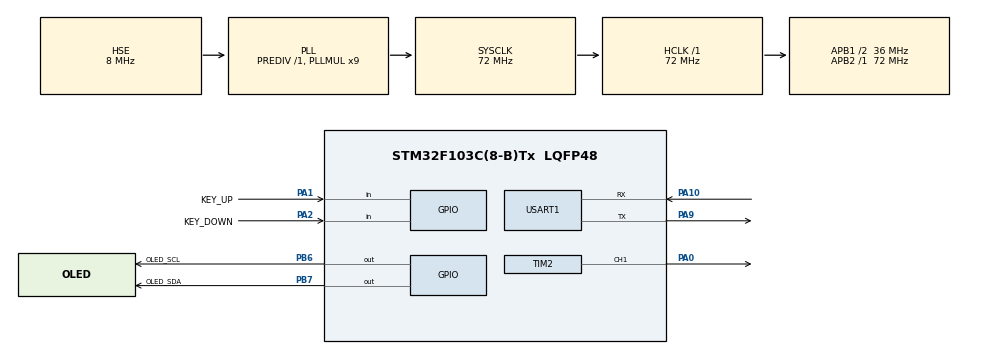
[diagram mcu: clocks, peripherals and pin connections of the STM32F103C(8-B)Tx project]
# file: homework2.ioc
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Mcu.Family=STM32F1
Mcu.Name=STM32F103C(8-B)Tx
Mcu.Package=LQFP48
NVIC.PriorityGroup=NVIC_PRIORITYGROUP_4
NVIC.USART1_IRQn=true\:0\:0\:false\:false\:true\:true\:true\:true
PA0-WKUP.Signal=S_TIM2_CH1_ETR
PA1.GPIO_Label=KEY_UP
PA1.GPIO_PuPd=GPIO_PULLUP
PA1.Signal=GPIO_Input
PA10.Mode=Asynchronous
PA10.Signal=USART1_RX
PA13.Mode=Serial_Wire
PA13.Signal=SYS_JTMS-SWDIO
PA14.Mode=Serial_Wire
PA14.Signal=SYS_JTCK-SWCLK
PA2.GPIO_Label=KEY_DOWN
PA2.GPIO_PuPd=GPIO_PULLUP
PA2.Signal=GPIO_Input
PA9.Mode=Asynchronous
PA9.Signal=USART1_TX
PB6.GPIO_Label=OLED_SCL
PB6.GPIO_ModeDefaultOutputPP=GPIO_MODE_OUTPUT_OD
PB6.GPIO_PuPd=GPIO_NOPULL
PB6.GPIO_Speed=GPIO_SPEED_FREQ_HIGH
PB6.PinState=GPIO_PIN_SET
PB6.Signal=GPIO_Output
PB7.GPIO_Label=OLED_SDA
PB7.GPIO_ModeDefaultOutputPP=GPIO_MODE_OUTPUT_OD
PB7.GPIO_PuPd=GPIO_NOPULL
PB7.Signal=GPIO_Output
PD0-OSC_IN.Mode=HSE-External-Oscillator
PD0-OSC_IN.Signal=RCC_OSC_IN
PD1-OSC_OUT.Mode=HSE-External-Oscillator
PD1-OSC_OUT.Signal=RCC_OSC_OUT
ProjectManager.HeapSize=0x200
ProjectManager.StackSize=0x400
ProjectManager.TargetToolchain=CMake
RCC.AHBFreq_Value=72000000
RCC.APB1CLKDivider=RCC_HCLK_DIV2
RCC.APB1Freq_Value=36000000
RCC.APB1TimFreq_Value=72000000
RCC.APB2Freq_Value=72000000
RCC.APB2TimFreq_Value=72000000
RCC.HCLKFreq_Value=72000000
RCC.PLLMUL=RCC_PLL_MUL9
RCC.PLLSourceVirtual=RCC_PLLSOURCE_HSE
RCC.SYSCLKFreq_VALUE=72000000
RCC.SYSCLKSource=RCC_SYSCLKSOURCE_PLLCLK
RCC.USBFreq_Value=72000000
SH.S_TIM2_CH1_ETR.0=TIM2_CH1,PWM Generation1 CH1
TIM2.Channel-PWM\ Generation1\ CH1=TIM_CHANNEL_1
TIM2.Period=19999
TIM2.Prescaler=71
TIM2.Pulse-PWM\ Generation1\ CH1=1500
USART1.VirtualMode=VM_ASYNC
VP_TIM2_VS_ClockSourceINT.Mode=Internal
board=custom

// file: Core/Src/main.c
/* USER CODE BEGIN Header */
/**
  ******************************************************************************
  * @file           : main.c
  * @brief          : Main program body
  ******************************************************************************
  * @attention
  *
  * Copyright (c) 2026 STMicroelectronics.
  * All rights reserved.
  *
  * This software is licensed under terms that can be found in the LICENSE file
  * in the root directory of this software component.
  * If no LICENSE file comes with this software, it is provided AS-IS.
  *
  ******************************************************************************
  */
/* USER CODE END Header */
#include "main.h"
#include "tim.h"
#include "usart.h"
#include "gpio.h"

/* USER CODE BEGIN Includes */
#include <stdio.h>
#include "Delay.h"
#include "OLED.h"
#include "Servo.h"
#include "Key.h"
/* USER CODE END Includes */

/* USER CODE BEGIN PV */
static const float seq[5] = {0.0f, 45.0f, 90.0f, 135.0f, 180.0f};

static uint8_t  s_seq_step = 1u;
static float    s_target = 0.0f;
static uint32_t s_last_ms = 0u;
static uint16_t s_show_ccr = 0xFFFFu;

static Key_t s_key_up   = {KEY_UP_GPIO_Port, KEY_UP_Pin, 1u, 0u, 0u};
static Key_t s_key_down = {KEY_DOWN_GPIO_Port, KEY_DOWN_Pin, 1u, 0u, 0u};
/* USER CODE END PV */

void SystemClock_Config(void);

int main(void)
{

  /* MCU Configuration--------------------------------------------------------*/

  /* Reset of all peripherals, Initializes the Flash interface and the Systick. */
  HAL_Init();

  /* Configure the system clock */
  SystemClock_Config();

  /* Initialize all configured peripherals */
  MX_GPIO_Init();
  MX_USART1_UART_Init();
  MX_TIM2_Init();
  /* USER CODE BEGIN 2 */
  /* DWT 必须在任何 Delay_us 之前初始化（OLED_Init 内部会用到） */
  Delay_Init();
  OLED_Init();
  OLED_Clear();
  Servo_Init();

  s_last_ms = HAL_GetTick();

  /* USER CODE END 2 */

  /* Infinite loop */
  while (1)
  {

    /* USER CODE BEGIN 3 */

      if (s_seq_step < 5u)
      {
        if ((HAL_GetTick() - s_last_ms) >= 1000u)
        {
          s_last_ms = HAL_GetTick();
          s_target = seq[s_seq_step];
          s_seq_step++;
        }
      }

      else
      {
        if (Key_Scan(&s_key_up))
        {
          s_target += 15.0f;
          if (s_target > 180.0f) s_target = 180.0f;
        }
        if (Key_Scan(&s_key_down))
        {
          s_target -= 15.0f;
          if (s_target < 0.0f) s_target = 0.0f;
        }
      }

      uint16_t ccr = Servo_SetAngle(s_target);
      if (ccr != s_show_ccr)
      {
        s_show_ccr = ccr;

        OLED_ShowString(1, 1, "Target:");
        OLED_ShowNum(1, 9, (uint32_t)s_target, 3);
        OLED_ShowString(1, 12, "deg");

        OLED_ShowString(2, 1, "CCR   :");
        OLED_ShowNum(2, 9, ccr, 4);

        OLED_ShowString(3, 1, "Pulse :");
        OLED_ShowNum(3, 9, ccr / 1000, 1);
        OLED_ShowString(3, 10, ".");
        OLED_ShowNum(3, 11, ccr % 1000, 3);
        OLED_ShowString(3, 14, "ms");

        printf("Target=%3d CCR=%4d Pulse=%d.%03dms\r\n",
               (int)s_target, ccr, ccr / 1000, ccr % 1000);
      }
    }
  }

  /* USER CODE END 3 */

void SystemClock_Config(void)
{
  RCC_OscInitTypeDef RCC_OscInitStruct = {0};
  RCC_ClkInitTypeDef RCC_ClkInitStruct = {0};

  /** Initializes the RCC Oscillators according to the specified parameters
  * in the RCC_OscInitTypeDef structure.
  */
  RCC_OscInitStruct.OscillatorType = RCC_OSCILLATORTYPE_HSE;
  RCC_OscInitStruct.HSEState = RCC_HSE_ON;
  RCC_OscInitStruct.HSEPredivValue = RCC_HSE_PREDIV_DIV1;
  RCC_OscInitStruct.HSIState = RCC_HSI_ON;
  RCC_OscInitStruct.PLL.PLLState = RCC_PLL_ON;
  RCC_OscInitStruct.PLL.PLLSource = RCC_PLLSOURCE_HSE;
  RCC_OscInitStruct.PLL.PLLMUL = RCC_PLL_MUL9;
  if (HAL_RCC_OscConfig(&RCC_OscInitStruct) != HAL_OK)
  {
    Error_Handler();
  }

  /** Initializes the CPU, AHB and APB buses clocks
  */
  RCC_ClkInitStruct.ClockType = RCC_CLOCKTYPE_HCLK|RCC_CLOCKTYPE_SYSCLK
                              |RCC_CLOCKTYPE_PCLK1|RCC_CLOCKTYPE_PCLK2;
  RCC_ClkInitStruct.SYSCLKSource = RCC_SYSCLKSOURCE_PLLCLK;
  RCC_ClkInitStruct.AHBCLKDivider = RCC_SYSCLK_DIV1;
  RCC_ClkInitStruct.APB1CLKDivider = RCC_HCLK_DIV2;
  RCC_ClkInitStruct.APB2CLKDivider = RCC_HCLK_DIV1;

  if (HAL_RCC_ClockConfig(&RCC_ClkInitStruct, FLASH_LATENCY_2) != HAL_OK)
  {
    Error_Handler();
  }
}

void Error_Handler(void)
{
  __disable_irq();
  while (1)
  {
  }
}
